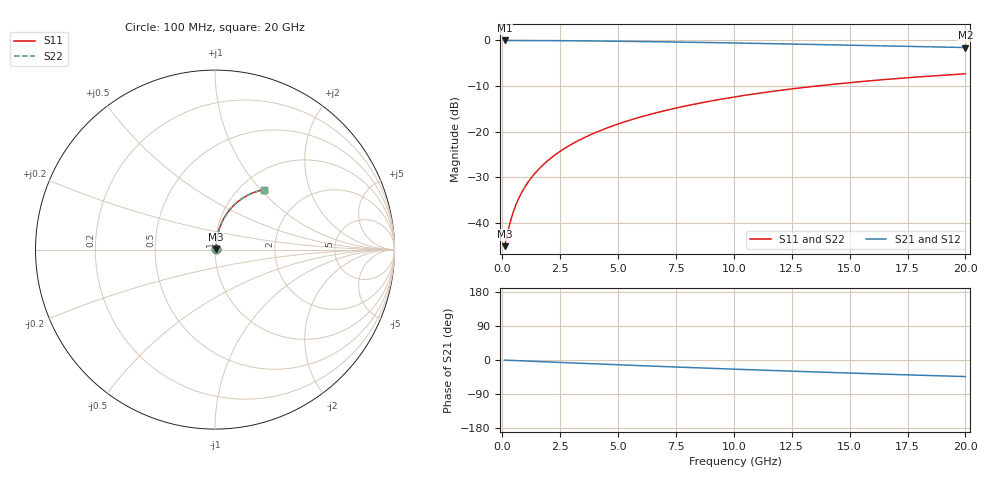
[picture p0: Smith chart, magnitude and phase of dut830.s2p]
! Touchstone file exported from HFSS 2024.1.0
!  File:  C:/UserFiles/LocalFiles/RDL_TSV_Batchsim/temp_RDL_bottom_830_1779863185.aedt
!  Generated:  02:29:10 PM May 27, 2026
!  Design:  RDL_bottom
!  Project:  temp_RDL_bottom_830_1779863185
!  Setup:  Setup1
!  Solution:  Sweep
! Variables:
!  dtsv = 10.80580581um
!  hbump = 3um
!  htsv = 75.63um
!  ldown = 616.15um
!  lrdl = 100um
!  p = 40
!  p1 = 42.58um
!  rhole = 1um
!  t = 450um
!  tdown = 2.89um
!  trdl = 3.915915916um
!  wdown = 15.73um
!  wrdl = 20um
# GHz S MA R 50.000000
! Terminal data exported
! Port[1] = RDL1_T1
! Port[2] = RDL1_T2
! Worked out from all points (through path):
!   200 points, 100 MHz to 20 GHz, reference 50 ohm
!   highest |S21| = -0.04 dB at 100 MHz (marker M1); lowest = -1.6 dB at 20 GHz (marker M2)
!   group delay of S21, straight-line fit = 6.07 ps
!   lowest |S11| = -45.1 dB at 100 MHz (marker M3), VSWR 1.01, Z = 50.5 + j0.262 ohm
!   |S11| at or under -10 dB: start of sweep to 13.61 GHz
!   |S22| runs from -45.1 to -7.3 dB; largest |S21 - S12| = 2.8e-15
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0.1  0.005574 27.8  0.9951 -0.3  0.9951 -0.3  0.005573 27.8
! Gamma 0 0 0 0
! Port Impedance 50 0 50 0
0.3  0.009282 55.9  0.9948 -0.8  0.9948 -0.8  0.009282 55.9
0.4  0.0115 62.0  0.9946 -1.1  0.9946 -1.1  0.0115 62.0
0.5  0.01377 66.0  0.9944 -1.3  0.9944 -1.3  0.01377 66.0
0.6  0.01607 68.9  0.9942 -1.6  0.9942 -1.6  0.01607 68.9
0.7  0.01837 71.0  0.994 -1.8  0.994 -1.8  0.01837 71.0
0.9  0.023 73.9  0.9936 -2.3  0.9936 -2.3  0.023 73.9
1.2  0.03001 76.6  0.993 -3.1  0.993 -3.1  0.03001 76.6
1.4  0.03471 77.7  0.9925 -3.6  0.9925 -3.6  0.03471 77.7
1.7  0.04181 78.8  0.9917 -4.4  0.9917 -4.4  0.04181 78.8
2.2  0.05371 79.7  0.9902 -5.7  0.9902 -5.7  0.05371 79.7
2.8  0.06809 80.0  0.988 -7.2  0.988 -7.2  0.06809 80.0
3.5  0.08494 79.7  0.9847 -8.9  0.9847 -8.9  0.08495 79.7
4.2  0.1018 79.1  0.9809 -10.7  0.9809 -10.7  0.1019 79.1
5  0.1212 78.1  0.976 -12.6  0.976 -12.6  0.1212 78.1
5.9  0.1429 76.8  0.9696 -14.8  0.9696 -14.8  0.1429 76.8
6.8  0.1645 75.3  0.9627 -16.9  0.9627 -16.9  0.1645 75.3
8.4  0.2023 72.5  0.949 -20.6  0.949 -20.6  0.2023 72.5
10.1  0.2412 69.3  0.9332 -24.4  0.9332 -24.4  0.2413 69.3
13.4  0.312 62.9  0.9002 -31.3  0.9002 -31.3  0.3122 63.0
16.7  0.3749 56.8  0.8661 -37.7  0.8661 -37.7  0.3751 56.8
20  0.4293 50.9  0.8324 -43.7  0.8324 -43.7  0.4295 51.0
